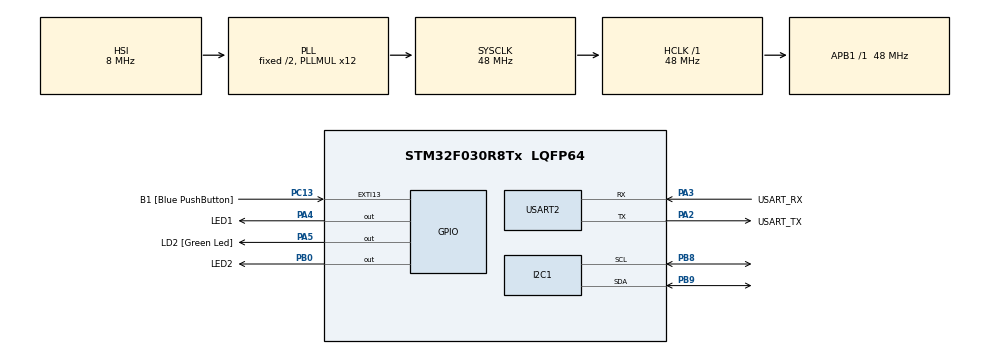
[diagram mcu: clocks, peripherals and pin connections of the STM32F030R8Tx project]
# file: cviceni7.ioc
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FREERTOS.Queues01=xVisualQueue,16,int16_t,0,Dynamic,NULL,NULL
FREERTOS.Tasks01=defaultTask,0,128,StartDefaultTask,Default,NULL,Dynamic,NULL,NULL;VisualTask,0,128,StartVisualTask,Default,NULL,Dynamic,NULL,NULL;AcceleroTask,0,128,StartAcceleroTask,Default,NULL,Dynamic,NULL,NULL
FREERTOS.configUSE_NEWLIB_REENTRANT=1
Mcu.Family=STM32F0
Mcu.Name=STM32F030R8Tx
Mcu.Package=LQFP64
NVIC.TIM14_IRQn=true\:3\:0\:false\:false\:true\:false\:false\:true
NVIC.TimeBase=TIM14_IRQn
NVIC.TimeBaseIP=TIM14
PA13.GPIO_Label=TMS
PA13.Mode=Serial_Wire
PA13.Signal=SYS_SWDIO
PA14.GPIO_Label=TCK
PA14.Mode=Serial_Wire
PA14.Signal=SYS_SWCLK
PA2.GPIO_Label=USART_TX
PA2.GPIO_Mode=GPIO_MODE_AF_PP
PA2.GPIO_PuPd=GPIO_NOPULL
PA2.GPIO_Speed=GPIO_SPEED_FREQ_LOW
PA2.Mode=Asynchronous
PA2.Signal=USART2_TX
PA3.GPIO_Label=USART_RX
PA3.GPIO_Mode=GPIO_MODE_AF_PP
PA3.GPIO_PuPd=GPIO_NOPULL
PA3.GPIO_Speed=GPIO_SPEED_FREQ_LOW
PA3.Mode=Asynchronous
PA3.Signal=USART2_RX
PA4.GPIO_Label=LED1
PA4.Signal=GPIO_Output
PA5.GPIO_Label=LD2 [Green Led]
PA5.GPIO_Mode=GPIO_MODE_OUTPUT_PP
PA5.GPIO_PuPd=GPIO_NOPULL
PA5.GPIO_Speed=GPIO_SPEED_FREQ_LOW
PA5.Signal=GPIO_Output
PB0.GPIO_Label=LED2
PB0.Signal=GPIO_Output
PB8.Mode=I2C
PB8.Signal=I2C1_SCL
PB9.Mode=I2C
PB9.Signal=I2C1_SDA
PC13.GPIO_Label=B1 [Blue PushButton]
PC13.GPIO_ModeDefaultEXTI=GPIO_MODE_IT_FALLING
PC13.Signal=GPXTI13
PC14-OSC32_IN.Mode=LSE-External-Oscillator
PC14-OSC32_IN.Signal=RCC_OSC32_IN
PC15-OSC32_OUT.Mode=LSE-External-Oscillator
PC15-OSC32_OUT.Signal=RCC_OSC32_OUT
PF0-OSC_IN.Mode=HSE-External-Clock-Source
PF0-OSC_IN.Signal=RCC_OSC_IN
PF1-OSC_OUT.Signal=RCC_OSC_OUT
ProjectManager.HeapSize=0x200
ProjectManager.StackSize=0x400
ProjectManager.TargetToolchain=STM32CubeIDE
RCC.AHBFreq_Value=48000000
RCC.APB1Freq_Value=48000000
RCC.APB1TimFreq_Value=48000000
RCC.HCLKFreq_Value=48000000
RCC.PLLMUL=RCC_PLL_MUL12
RCC.SYSCLKFreq_VALUE=48000000
RCC.SYSCLKSource=RCC_SYSCLKSOURCE_PLLCLK
USART2.VirtualMode-Asynchronous=VM_ASYNC
VP_FREERTOS_VS_CMSIS_V1.Mode=CMSIS_V1
VP_SYS_VS_tim14.Mode=TIM14
board=NUCLEO-F030R8

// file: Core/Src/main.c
/* USER CODE BEGIN Header */
/**
 ******************************************************************************
 * @file           : main.c
 * @brief          : Main program body
 ******************************************************************************
 * @attention
 *
 * <h2><center>&copy; Copyright (c) 2021 STMicroelectronics.
 * All rights reserved.</center></h2>
 *
 * This software component is licensed by ST under BSD 3-Clause license,
 * the "License"; You may not use this file except in compliance with the
 * License. You may obtain a copy of the License at:
 *                        opensource.org/licenses/BSD-3-Clause
 *
 ******************************************************************************
 */
/* USER CODE END Header */
#include "main.h"
#include "cmsis_os.h"

/* USER CODE BEGIN Includes */
#include <stdio.h> //aby fungoval vypis printf()
#include "lis2dw12_reg.h" //knihovna accelometru
/* USER CODE END Includes */

I2C_HandleTypeDef hi2c1;

UART_HandleTypeDef huart2;

osThreadId defaultTaskHandle;
osThreadId VisualTaskHandle;
osThreadId AcceleroTaskHandle;
osMessageQId xVisualQueueHandle;

void SystemClock_Config(void);
static void MX_GPIO_Init(void);
static void MX_USART2_UART_Init(void);
static void MX_I2C1_Init(void);
void StartDefaultTask(void const *argument);
void StartVisualTask(void const *argument);
void StartAcceleroTask(void const *argument);

/* USER CODE BEGIN PFP */
static int32_t platform_write(void *handle, uint8_t reg, uint8_t *bufp,
		uint16_t len);
static int32_t platform_read(void *handle, uint8_t reg, uint8_t *bufp,
		uint16_t len);
static stmdev_ctx_t lis2dw12 = { .write_reg = platform_write, .read_reg =
		platform_read, .handle = &hi2c1, };
/* USER CODE END PFP */

/* USER CODE BEGIN 0 */

//UART vypis
//funkce je definovana jako weak - tim se prepsala
int _write(int file, char const *buf, int n) {
	/* stdout redirection to UART2 */
	HAL_UART_Transmit(&huart2, (uint8_t*) (buf), n, HAL_MAX_DELAY);
	return n;
}

/*
 * Replace the functions "platform_write" and "platform_read" with your
 * platform specific read and write function.
 */
static int32_t platform_write(void *handle, uint8_t reg, uint8_t *bufp,
		uint16_t len) {
	HAL_I2C_Mem_Write(handle, LIS2DW12_I2C_ADD_H, reg, I2C_MEMADD_SIZE_8BIT,
			bufp, len, 1000);
	return 0;
}
static int32_t platform_read(void *handle, uint8_t reg, uint8_t *bufp,
		uint16_t len) {
	HAL_I2C_Mem_Read(handle, LIS2DW12_I2C_ADD_H, reg, I2C_MEMADD_SIZE_8BIT,
			bufp, len, 1000);
	return 0;
}
/* USER CODE END 0 */

int main(void) {

	/* MCU Configuration--------------------------------------------------------*/

	/* Reset of all peripherals, Initializes the Flash interface and the Systick. */
	HAL_Init();

	/* Configure the system clock */
	SystemClock_Config();

	/* Initialize all configured peripherals */
	MX_GPIO_Init();
	MX_USART2_UART_Init();
	MX_I2C1_Init();

	/* Create the queue(s) */
	/* definition and creation of xVisualQueue */
	osMessageQDef(xVisualQueue, 16, int16_t);
	xVisualQueueHandle = osMessageCreate(osMessageQ(xVisualQueue), NULL);

	/* Create the thread(s) */
	/* definition and creation of defaultTask */
	osThreadDef(defaultTask, StartDefaultTask, osPriorityNormal, 0, 128);
	defaultTaskHandle = osThreadCreate(osThread(defaultTask), NULL);

	/* definition and creation of VisualTask */
	osThreadDef(VisualTask, StartVisualTask, osPriorityNormal, 0, 128);
	VisualTaskHandle = osThreadCreate(osThread(VisualTask), NULL);

	/* definition and creation of AcceleroTask */
	osThreadDef(AcceleroTask, StartAcceleroTask, osPriorityNormal, 0, 128);
	AcceleroTaskHandle = osThreadCreate(osThread(AcceleroTask), NULL);

	/* Start scheduler */
	osKernelStart();

	/* We should never get here as control is now taken by the scheduler */
	/* Infinite loop */
	/* USER CODE BEGIN WHILE */
	while (1) {
		//tady by byt nic nemelo asi

		/* USER CODE END WHILE */

	}
}

void SystemClock_Config(void) {
	RCC_OscInitTypeDef RCC_OscInitStruct = { 0 };
	RCC_ClkInitTypeDef RCC_ClkInitStruct = { 0 };
	RCC_PeriphCLKInitTypeDef PeriphClkInit = { 0 };

	/** Initializes the RCC Oscillators according to the specified parameters
	 * in the RCC_OscInitTypeDef structure.
	 */
	RCC_OscInitStruct.OscillatorType = RCC_OSCILLATORTYPE_HSI;
	RCC_OscInitStruct.HSIState = RCC_HSI_ON;
	RCC_OscInitStruct.HSICalibrationValue = RCC_HSICALIBRATION_DEFAULT;
	RCC_OscInitStruct.PLL.PLLState = RCC_PLL_ON;
	RCC_OscInitStruct.PLL.PLLSource = RCC_PLLSOURCE_HSI;
	RCC_OscInitStruct.PLL.PLLMUL = RCC_PLL_MUL12;
	RCC_OscInitStruct.PLL.PREDIV = RCC_PREDIV_DIV1;
	if (HAL_RCC_OscConfig(&RCC_OscInitStruct) != HAL_OK) {
		Error_Handler();
	}
	/** Initializes the CPU, AHB and APB buses clocks
	 */
	RCC_ClkInitStruct.ClockType = RCC_CLOCKTYPE_HCLK | RCC_CLOCKTYPE_SYSCLK
			| RCC_CLOCKTYPE_PCLK1;
	RCC_ClkInitStruct.SYSCLKSource = RCC_SYSCLKSOURCE_PLLCLK;
	RCC_ClkInitStruct.AHBCLKDivider = RCC_SYSCLK_DIV1;
	RCC_ClkInitStruct.APB1CLKDivider = RCC_HCLK_DIV1;

	if (HAL_RCC_ClockConfig(&RCC_ClkInitStruct, FLASH_LATENCY_1) != HAL_OK) {
		Error_Handler();
	}
	PeriphClkInit.PeriphClockSelection = RCC_PERIPHCLK_I2C1;
	PeriphClkInit.I2c1ClockSelection = RCC_I2C1CLKSOURCE_HSI;
	if (HAL_RCCEx_PeriphCLKConfig(&PeriphClkInit) != HAL_OK) {
		Error_Handler();
	}
}

static void MX_I2C1_Init(void) {

	hi2c1.Instance = I2C1;
	hi2c1.Init.Timing = 0x2000090E;
	hi2c1.Init.OwnAddress1 = 0;
	hi2c1.Init.AddressingMode = I2C_ADDRESSINGMODE_7BIT;
	hi2c1.Init.DualAddressMode = I2C_DUALADDRESS_DISABLE;
	hi2c1.Init.OwnAddress2 = 0;
	hi2c1.Init.OwnAddress2Masks = I2C_OA2_NOMASK;
	hi2c1.Init.GeneralCallMode = I2C_GENERALCALL_DISABLE;
	hi2c1.Init.NoStretchMode = I2C_NOSTRETCH_DISABLE;
	if (HAL_I2C_Init(&hi2c1) != HAL_OK) {
		Error_Handler();
	}
	/** Configure Analogue filter
	 */
	if (HAL_I2CEx_ConfigAnalogFilter(&hi2c1, I2C_ANALOGFILTER_ENABLE)
			!= HAL_OK) {
		Error_Handler();
	}
	/** Configure Digital filter
	 */
	if (HAL_I2CEx_ConfigDigitalFilter(&hi2c1, 0) != HAL_OK) {
		Error_Handler();
	}

}

static void MX_USART2_UART_Init(void) {

	huart2.Instance = USART2;
	huart2.Init.BaudRate = 38400;
	huart2.Init.WordLength = UART_WORDLENGTH_8B;
	huart2.Init.StopBits = UART_STOPBITS_1;
	huart2.Init.Parity = UART_PARITY_NONE;
	huart2.Init.Mode = UART_MODE_TX_RX;
	huart2.Init.HwFlowCtl = UART_HWCONTROL_NONE;
	huart2.Init.OverSampling = UART_OVERSAMPLING_16;
	huart2.Init.OneBitSampling = UART_ONE_BIT_SAMPLE_DISABLE;
	huart2.AdvancedInit.AdvFeatureInit = UART_ADVFEATURE_NO_INIT;
	if (HAL_UART_Init(&huart2) != HAL_OK) {
		Error_Handler();
	}

}

static void MX_GPIO_Init(void) {
	GPIO_InitTypeDef GPIO_InitStruct = { 0 };

	/* GPIO Ports Clock Enable */
	__HAL_RCC_GPIOC_CLK_ENABLE();
	__HAL_RCC_GPIOF_CLK_ENABLE();
	__HAL_RCC_GPIOA_CLK_ENABLE();
	__HAL_RCC_GPIOB_CLK_ENABLE();

	/*Configure GPIO pin Output Level */
	HAL_GPIO_WritePin(GPIOA, LED1_Pin | LD2_Pin, GPIO_PIN_RESET);

	/*Configure GPIO pin Output Level */
	HAL_GPIO_WritePin(LED2_GPIO_Port, LED2_Pin, GPIO_PIN_RESET);

	/*Configure GPIO pin : B1_Pin */
	GPIO_InitStruct.Pin = B1_Pin;
	GPIO_InitStruct.Mode = GPIO_MODE_IT_FALLING;
	GPIO_InitStruct.Pull = GPIO_NOPULL;
	HAL_GPIO_Init(B1_GPIO_Port, &GPIO_InitStruct);

	/*Configure GPIO pins : LED1_Pin LD2_Pin */
	GPIO_InitStruct.Pin = LED1_Pin | LD2_Pin;
	GPIO_InitStruct.Mode = GPIO_MODE_OUTPUT_PP;
	GPIO_InitStruct.Pull = GPIO_NOPULL;
	GPIO_InitStruct.Speed = GPIO_SPEED_FREQ_LOW;
	HAL_GPIO_Init(GPIOA, &GPIO_InitStruct);

	/*Configure GPIO pin : LED2_Pin */
	GPIO_InitStruct.Pin = LED2_Pin;
	GPIO_InitStruct.Mode = GPIO_MODE_OUTPUT_PP;
	GPIO_InitStruct.Pull = GPIO_NOPULL;
	GPIO_InitStruct.Speed = GPIO_SPEED_FREQ_LOW;
	HAL_GPIO_Init(LED2_GPIO_Port, &GPIO_InitStruct);

}

void StartDefaultTask(void const *argument) {
	for (;;) {
		osDelay(1);
	}
}

void StartVisualTask(void const *argument) {
	/* USER CODE BEGIN StartVisualTask */
	/* Infinite loop */
	for (;;) {
		//obsluhuje
		int16_t msg;
		if (xQueueReceive(xVisualQueueHandle, &msg, portMAX_DELAY)) { //blokuje dokud neco neprijde

			if (msg < (-2000)) {
				HAL_GPIO_WritePin(LED1_GPIO_Port, LED1_Pin, 1);
				HAL_GPIO_WritePin(LED2_GPIO_Port, LED2_Pin, 0);
			} else if (msg > 2000) {
				HAL_GPIO_WritePin(LED1_GPIO_Port, LED1_Pin, 0);
				HAL_GPIO_WritePin(LED2_GPIO_Port, LED2_Pin, 1);
			} else {
				HAL_GPIO_WritePin(LED1_GPIO_Port, LED1_Pin, 0);
				HAL_GPIO_WritePin(LED2_GPIO_Port, LED2_Pin, 0);
			}

		}

		//osDelay(1);
	}
	/* USER CODE END StartVisualTask */
}

void StartAcceleroTask(void const *argument) {
	/* USER CODE BEGIN StartAcceleroTask */

	//Inicializujeme funkci akcelerometru
	lis2dw12_full_scale_set(&lis2dw12, LIS2DW12_2g);
	lis2dw12_power_mode_set(&lis2dw12, LIS2DW12_CONT_LOW_PWR_LOW_NOISE_2);
	lis2dw12_block_data_update_set(&lis2dw12, PROPERTY_ENABLE);
	lis2dw12_fifo_mode_set(&lis2dw12, LIS2DW12_STREAM_MODE); // enable continuous FIFO
	lis2dw12_data_rate_set(&lis2dw12, LIS2DW12_XL_ODR_25Hz); // enable part from power-down

	// Check device ID
	uint8_t whoamI = 0;
	lis2dw12_device_id_get(&lis2dw12, &whoamI);
	printf("LIS2DW12_ID %s\n", (whoamI == LIS2DW12_ID) ? "OK" : "FAIL");

	uint32_t tick_LED; //cas kdy se aktualizuje stav LED
	uint32_t tick_vypis; // -//- pro vypis na uart

	//int16_t msg;
	/* Infinite loop */
	for (;;) {
		/*
		 //simulace accelero task - odesila hodnoty
		 msg = 1500;
		 xQueueSend(xVisualQueueHandle, &msg, 0);
		 osDelay(300); //neblokuje

		 msg = -1500;
		 xQueueSend(xVisualQueueHandle, &msg, 0);
		 osDelay(300);

		 msg = 0;
		 xQueueSend(xVisualQueueHandle, &msg, 0);
		 osDelay(300);
		 //osDelay(1);
		 */

        //accelometr sampluje s rychlosti 25Hz

		uint8_t samples;
		int16_t raw_acceleration[3];
		lis2dw12_fifo_data_level_get(&lis2dw12, &samples); //cteni fifopameti accelometru
		for (uint8_t i = 0; i < samples; i++) {
			// Read acceleration data
			lis2dw12_acceleration_raw_get(&lis2dw12, raw_acceleration);
			//printf("X=%d Y=%d Z=%d\n", raw_acceleration[0], raw_acceleration[1],
				//	raw_acceleration[2]);
		}
		/*printf("X=%d Y=%d Z=%d\n", raw_acceleration[0], raw_acceleration[1],
							raw_acceleration[2]);*/

		//xQueueSend(xVisualQueueHandle, &msg, 0);
		//odeslat do fronty
		//os delay 50ms

		/*if (HAL_GetTick() >= tick_LED + 50) {
			xQueueSend(xVisualQueueHandle, &raw_acceleration[0], 0);
			tick_LED = HAL_GetTick();
					}*/ //ekvivalent 2 radku pod timto - tohle neblokuje -zatezuje vic
		xQueueSend(xVisualQueueHandle, &raw_acceleration[0], 0); //odesilani x-ove hodnoty pro blikani LED
		osDelay(50);

		if (HAL_GetTick() >= tick_vypis + 1000) { //po 1s vypise orientacne na uart
			printf("X=%d Y=%d Z=%d\n", raw_acceleration[0], raw_acceleration[1],
										raw_acceleration[2]); //vypsani vsech 3 os
					tick_vypis = HAL_GetTick();
							}

	}
	/* USER CODE END StartAcceleroTask */
}

void HAL_TIM_PeriodElapsedCallback(TIM_HandleTypeDef *htim) {
	if (htim->Instance == TIM14) {
		HAL_IncTick();
	}
}

void Error_Handler(void) {
	__disable_irq();
	while (1) {
	}
}

/************************ (C) COPYRIGHT STMicroelectronics *****END OF FILE****/
